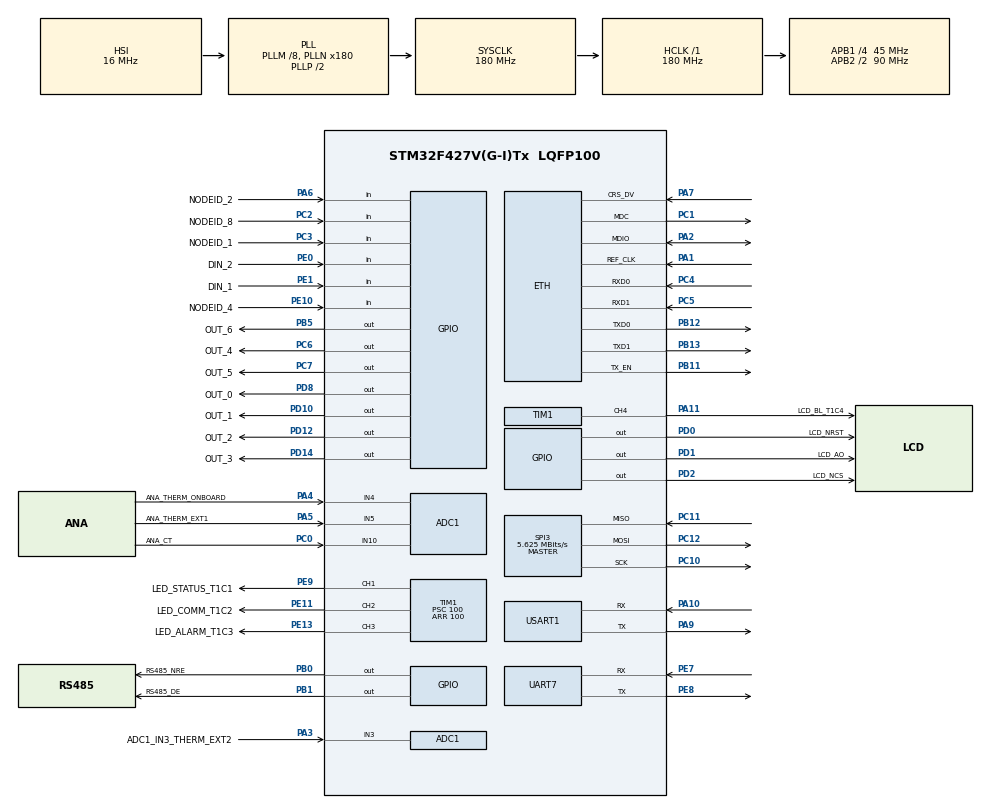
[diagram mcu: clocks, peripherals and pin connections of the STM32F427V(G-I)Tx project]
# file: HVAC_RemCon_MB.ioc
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ADC1.Channel-0\#ChannelRegularConversion=ADC_CHANNEL_3
ADC1.Channel-1\#ChannelRegularConversion=ADC_CHANNEL_4
ADC1.Channel-2\#ChannelRegularConversion=ADC_CHANNEL_5
ADC1.Channel-3\#ChannelRegularConversion=ADC_CHANNEL_10
ADC1.Channel-4\#ChannelRegularConversion=ADC_CHANNEL_TEMPSENSOR
ADC1.ContinuousConvMode=ENABLE
ADC1.NbrOfConversion=5
ADC1.NbrOfConversionFlag=1
ADC1.Rank-0\#ChannelRegularConversion=1
ADC1.Rank-1\#ChannelRegularConversion=2
ADC1.Rank-2\#ChannelRegularConversion=3
ADC1.Rank-3\#ChannelRegularConversion=4
ADC1.Rank-4\#ChannelRegularConversion=5
ADC1.SamplingTime-0\#ChannelRegularConversion=ADC_SAMPLETIME_28CYCLES
ADC1.SamplingTime-1\#ChannelRegularConversion=ADC_SAMPLETIME_28CYCLES
ADC1.SamplingTime-2\#ChannelRegularConversion=ADC_SAMPLETIME_28CYCLES
ADC1.SamplingTime-3\#ChannelRegularConversion=ADC_SAMPLETIME_28CYCLES
ADC1.SamplingTime-4\#ChannelRegularConversion=ADC_SAMPLETIME_28CYCLES
ADC1.master=1
Dma.ADC1.0.Direction=DMA_PERIPH_TO_MEMORY
Dma.ADC1.0.FIFOMode=DMA_FIFOMODE_DISABLE
Dma.ADC1.0.Instance=DMA2_Stream0
Dma.ADC1.0.MemDataAlignment=DMA_MDATAALIGN_HALFWORD
Dma.ADC1.0.MemInc=DMA_MINC_ENABLE
Dma.ADC1.0.Mode=DMA_CIRCULAR
Dma.ADC1.0.PeriphDataAlignment=DMA_PDATAALIGN_HALFWORD
Dma.ADC1.0.PeriphInc=DMA_PINC_DISABLE
Dma.ADC1.0.Priority=DMA_PRIORITY_LOW
Dma.Request0=ADC1
Dma.Request1=USART1_RX
Dma.Request2=USART1_TX
Dma.Request3=UART7_RX
Dma.Request4=UART7_TX
Dma.UART7_RX.3.Direction=DMA_PERIPH_TO_MEMORY
Dma.UART7_RX.3.FIFOMode=DMA_FIFOMODE_DISABLE
Dma.UART7_RX.3.Instance=DMA1_Stream3
Dma.UART7_RX.3.MemDataAlignment=DMA_MDATAALIGN_BYTE
Dma.UART7_RX.3.MemInc=DMA_MINC_ENABLE
Dma.UART7_RX.3.Mode=DMA_NORMAL
Dma.UART7_RX.3.PeriphDataAlignment=DMA_PDATAALIGN_BYTE
Dma.UART7_RX.3.PeriphInc=DMA_PINC_DISABLE
Dma.UART7_RX.3.Priority=DMA_PRIORITY_LOW
Dma.UART7_TX.4.Direction=DMA_MEMORY_TO_PERIPH
Dma.UART7_TX.4.FIFOMode=DMA_FIFOMODE_DISABLE
Dma.UART7_TX.4.Instance=DMA1_Stream1
Dma.UART7_TX.4.MemDataAlignment=DMA_MDATAALIGN_BYTE
Dma.UART7_TX.4.MemInc=DMA_MINC_ENABLE
Dma.UART7_TX.4.Mode=DMA_NORMAL
Dma.UART7_TX.4.PeriphDataAlignment=DMA_PDATAALIGN_BYTE
Dma.UART7_TX.4.PeriphInc=DMA_PINC_DISABLE
Dma.UART7_TX.4.Priority=DMA_PRIORITY_LOW
Dma.USART1_RX.1.Direction=DMA_PERIPH_TO_MEMORY
Dma.USART1_RX.1.FIFOMode=DMA_FIFOMODE_DISABLE
Dma.USART1_RX.1.Instance=DMA2_Stream2
Dma.USART1_RX.1.MemDataAlignment=DMA_MDATAALIGN_BYTE
Dma.USART1_RX.1.MemInc=DMA_MINC_ENABLE
Dma.USART1_RX.1.Mode=DMA_NORMAL
Dma.USART1_RX.1.PeriphDataAlignment=DMA_PDATAALIGN_BYTE
Dma.USART1_RX.1.PeriphInc=DMA_PINC_DISABLE
Dma.USART1_RX.1.Priority=DMA_PRIORITY_LOW
Dma.USART1_TX.2.Direction=DMA_MEMORY_TO_PERIPH
Dma.USART1_TX.2.FIFOMode=DMA_FIFOMODE_DISABLE
Dma.USART1_TX.2.Instance=DMA2_Stream7
Dma.USART1_TX.2.MemDataAlignment=DMA_MDATAALIGN_BYTE
Dma.USART1_TX.2.MemInc=DMA_MINC_ENABLE
Dma.USART1_TX.2.Mode=DMA_NORMAL
Dma.USART1_TX.2.PeriphDataAlignment=DMA_PDATAALIGN_BYTE
Dma.USART1_TX.2.PeriphInc=DMA_PINC_DISABLE
Dma.USART1_TX.2.Priority=DMA_PRIORITY_LOW
ETH.MediaInterface=HAL_ETH_RMII_MODE
LWIP.BSP.number=1
LWIP.ETHARP_TABLE_MATCH_NETIF=0
LWIP.HTTPD_USE_CUSTOM_FSDATA=1
LWIP.LWIP_HTTPD=1
LWIP.LWIP_HTTPD_CGI=1
LWIP.LWIP_HTTPD_CGI_SSI=1
LWIP.LWIP_HTTPD_CUSTOM_FILES=1
LWIP.LWIP_HTTPD_DYNAMIC_HEADERS=1
LWIP.MEM_SIZE=16000
LWIP.TCP_WND_UPDATE_THRESHOLD=536
LWIP.Version=v2.1.2_Cube
LWIP0.BSP.STBoard=false
LWIP0.BSP.api=BSP_COMPONENT_DRIVER
LWIP0.BSP.component=LAN8742
LWIP0.BSP.instance=LAN8742
LWIP0.BSP.name=Driver_PHY
LWIP0.BSP.semaphore=S_LAN8742
LWIP0.BSP.solution=LAN8742
Mcu.Family=STM32F4
Mcu.Name=STM32F427V(G-I)Tx
Mcu.Package=LQFP100
NVIC.DMA1_Stream1_IRQn=true\:0\:0\:false\:false\:true\:false\:true\:true
NVIC.DMA1_Stream3_IRQn=true\:0\:0\:false\:false\:true\:false\:true\:true
NVIC.DMA2_Stream0_IRQn=true\:0\:0\:false\:false\:true\:false\:true\:true
NVIC.DMA2_Stream2_IRQn=true\:0\:0\:false\:false\:true\:false\:true\:true
NVIC.DMA2_Stream7_IRQn=true\:0\:0\:false\:false\:true\:false\:true\:true
NVIC.PriorityGroup=NVIC_PRIORITYGROUP_4
PA1.Mode=RMII
PA1.Signal=ETH_REF_CLK
PA10.Mode=Asynchronous
PA10.Signal=USART1_RX
PA11.GPIO_Label=LCD_BL_T1C4
PA11.Signal=S_TIM1_CH4
PA13.Mode=Serial_Wire
PA13.Signal=SYS_JTMS-SWDIO
PA14.Mode=Serial_Wire
PA14.Signal=SYS_JTCK-SWCLK
PA2.Mode=RMII
PA2.Signal=ETH_MDIO
PA3.GPIO_Label=ADC1_IN3_THERM_EXT2
PA3.Signal=ADCx_IN3
PA4.GPIO_Label=ANA_THERM_ONBOARD
PA4.Signal=ADCx_IN4
PA5.GPIO_Label=ANA_THERM_EXT1
PA5.Signal=ADCx_IN5
PA6.GPIO_Label=NODEID_2
PA6.GPIO_PuPd=GPIO_PULLDOWN
PA6.Signal=GPIO_Input
PA7.Mode=RMII
PA7.Signal=ETH_CRS_DV
PA9.Mode=Asynchronous
PA9.Signal=USART1_TX
PB0.GPIO_Label=RS485_NRE
PB0.Signal=GPIO_Output
PB1.GPIO_Label=RS485_DE
PB1.Signal=GPIO_Output
PB11.Mode=RMII
PB11.Signal=ETH_TX_EN
PB12.Mode=RMII
PB12.Signal=ETH_TXD0
PB13.Mode=RMII
PB13.Signal=ETH_TXD1
PB5.GPIO_Label=OUT_6
PB5.Signal=GPIO_Output
PC0.GPIO_Label=ANA_CT
PC0.Signal=ADCx_IN10
PC1.Mode=RMII
PC1.Signal=ETH_MDC
PC10.Mode=Full_Duplex_Master
PC10.Signal=SPI3_SCK
PC11.Mode=Full_Duplex_Master
PC11.Signal=SPI3_MISO
PC12.Mode=Full_Duplex_Master
PC12.Signal=SPI3_MOSI
PC14/OSC32_IN.Mode=LSE-External-Oscillator
PC14/OSC32_IN.Signal=RCC_OSC32_IN
PC15/OSC32_OUT.Mode=LSE-External-Oscillator
PC15/OSC32_OUT.Signal=RCC_OSC32_OUT
PC2.GPIO_Label=NODEID_8
PC2.GPIO_PuPd=GPIO_PULLDOWN
PC2.Signal=GPIO_Input
PC3.GPIO_Label=NODEID_1
PC3.GPIO_PuPd=GPIO_PULLDOWN
PC3.Signal=GPIO_Input
PC4.Mode=RMII
PC4.Signal=ETH_RXD0
PC5.Mode=RMII
PC5.Signal=ETH_RXD1
PC6.GPIO_Label=OUT_4
PC6.Signal=GPIO_Output
PC7.GPIO_Label=OUT_5
PC7.Signal=GPIO_Output
PD0.GPIO_Label=LCD_NRST
PD0.PinState=GPIO_PIN_SET
PD0.Signal=GPIO_Output
PD1.GPIO_Label=LCD_AO
PD1.Signal=GPIO_Output
PD10.GPIO_Label=OUT_1
PD10.Signal=GPIO_Output
PD12.GPIO_Label=OUT_2
PD12.Signal=GPIO_Output
PD14.GPIO_Label=OUT_3
PD14.Signal=GPIO_Output
PD2.GPIO_Label=LCD_NCS
PD2.PinState=GPIO_PIN_SET
PD2.Signal=GPIO_Output
PD8.GPIO_Label=OUT_0
PD8.Signal=GPIO_Output
PE0.GPIO_Label=DIN_2
PE0.Signal=GPIO_Input
PE1.GPIO_Label=DIN_1
PE1.Signal=GPIO_Input
PE10.GPIO_Label=NODEID_4
PE10.GPIO_PuPd=GPIO_PULLDOWN
PE10.Signal=GPIO_Input
PE11.GPIO_Label=LED_COMM_T1C2
PE11.Signal=S_TIM1_CH2
PE13.GPIO_Label=LED_ALARM_T1C3
PE13.Signal=S_TIM1_CH3
PE7.Mode=Asynchronous
PE7.Signal=UART7_RX
PE8.Mode=Asynchronous
PE8.Signal=UART7_TX
PE9.GPIO_Label=LED_STATUS_T1C1
PE9.Signal=S_TIM1_CH1
PH0/OSC_IN.Mode=HSE-External-Oscillator
PH0/OSC_IN.Signal=RCC_OSC_IN
PH1/OSC_OUT.Mode=HSE-External-Oscillator
PH1/OSC_OUT.Signal=RCC_OSC_OUT
ProjectManager.HeapSize=0x200
ProjectManager.StackSize=0x400
ProjectManager.TargetToolchain=STM32CubeIDE
RCC.48MHZClocksFreq_Value=90000000
RCC.AHBFreq_Value=180000000
RCC.APB1CLKDivider=RCC_HCLK_DIV4
RCC.APB1Freq_Value=45000000
RCC.APB1TimFreq_Value=90000000
RCC.APB2CLKDivider=RCC_HCLK_DIV2
RCC.APB2Freq_Value=90000000
RCC.APB2TimFreq_Value=180000000
RCC.CortexFreq_Value=180000000
RCC.HCLKFreq_Value=180000000
RCC.HSE_VALUE=8000000
RCC.HSI_VALUE=16000000
RCC.PLLM=8
RCC.PLLN=180
RCC.RCC_RTC_Clock_Source=RCC_RTCCLKSOURCE_LSE
RCC.RCC_RTC_Clock_SourceVirtual=RCC_RTCCLKSOURCE_LSE
RCC.SYSCLKFreq_VALUE=180000000
RCC.SYSCLKSource=RCC_SYSCLKSOURCE_PLLCLK
RCC.VCOOutputFreq_Value=360000000
SH.ADCx_IN10.0=ADC1_IN10,IN10
SH.ADCx_IN3.0=ADC1_IN3,IN3
SH.ADCx_IN4.0=ADC1_IN4,IN4
SH.ADCx_IN5.0=ADC1_IN5,IN5
SH.S_TIM1_CH1.0=TIM1_CH1,PWM Generation1 CH1
SH.S_TIM1_CH2.0=TIM1_CH2,PWM Generation2 CH2
SH.S_TIM1_CH3.0=TIM1_CH3,PWM Generation3 CH3
SH.S_TIM1_CH4.0=TIM1_CH4,PWM Generation4 CH4
SPI3.BaudRatePrescaler=SPI_BAUDRATEPRESCALER_8
SPI3.CalculateBaudRate=5.625 MBits/s
SPI3.Direction=SPI_DIRECTION_2LINES
SPI3.Mode=SPI_MODE_MASTER
SPI3.VirtualType=VM_MASTER
TIM1.Channel-PWM\ Generation1\ CH1=TIM_CHANNEL_1
TIM1.Channel-PWM\ Generation2\ CH2=TIM_CHANNEL_2
TIM1.Channel-PWM\ Generation3\ CH3=TIM_CHANNEL_3
TIM1.Channel-PWM\ Generation4\ CH4=TIM_CHANNEL_4
TIM1.OCPolarity_4=TIM_OCPOLARITY_LOW
TIM1.Period=100
TIM1.Prescaler=100
UART7.VirtualMode=Asynchronous
USART1.VirtualMode=VM_ASYNC
VP_ADC1_TempSens_Input.Mode=IN-TempSens
VP_LWIP_VS_Enabled.Mode=Enabled
board=custom

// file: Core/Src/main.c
/* USER CODE BEGIN Header */
/**
  ******************************************************************************
  * @file           : main.c
  * @brief          : Main program body
  ******************************************************************************
  * @attention
  *
  * Copyright (c) 2025 STMicroelectronics.
  * All rights reserved.
  *
  * This software is licensed under terms that can be found in the LICENSE file
  * in the root directory of this software component.
  * If no LICENSE file comes with this software, it is provided AS-IS.
  *
  ******************************************************************************
  */
/* USER CODE END Header */
#include "main.h"
#include "lwip.h"

/* USER CODE BEGIN Includes */
#include "httpd.h"
#include "modbus_tcp.h"
#include "io_core.h"
#include "sysstatus.h"
#include "webserver.h"
/* USER CODE END Includes */

ADC_HandleTypeDef hadc1;
DMA_HandleTypeDef hdma_adc1;

SPI_HandleTypeDef hspi3;

TIM_HandleTypeDef htim1;

UART_HandleTypeDef huart7;
UART_HandleTypeDef huart1;
DMA_HandleTypeDef hdma_uart7_rx;
DMA_HandleTypeDef hdma_uart7_tx;
DMA_HandleTypeDef hdma_usart1_rx;
DMA_HandleTypeDef hdma_usart1_tx;

/* USER CODE BEGIN PV */
extern struct netif gnetif;  // Declared in MX_LWIP_Init()
/* USER CODE END PV */

void SystemClock_Config(void);
static void MX_GPIO_Init(void);
static void MX_DMA_Init(void);
static void MX_SPI3_Init(void);
static void MX_USART1_UART_Init(void);
static void MX_ADC1_Init(void);
static void MX_UART7_Init(void);
static void MX_TIM1_Init(void);

int main(void)
{

  /* MCU Configuration--------------------------------------------------------*/

  /* Reset of all peripherals, Initializes the Flash interface and the Systick. */
  HAL_Init();

  /* Configure the system clock */
  SystemClock_Config();

  /* Initialize all configured peripherals */
  MX_GPIO_Init();
  MX_DMA_Init();
  MX_SPI3_Init();
  MX_USART1_UART_Init();
  MX_LWIP_Init();
  MX_ADC1_Init();
  MX_UART7_Init();
  MX_TIM1_Init();
  /* USER CODE BEGIN 2 */

  	  SysStatus_Init(&htim1, &hspi3);
  	  LEDs_SetSystemState(SYSTEM_STATE_BOOT);
  	  IO_Core_Init(&hadc1);
  	  ModbusTCP_Init();
  	  WebServer_Init();
  /* USER CODE END 2 */

  /* Infinite loop */
  /* USER CODE BEGIN WHILE */
  while (1)
  {
	  MX_LWIP_Process();

	  // Update system state based on Ethernet link + IP
	  if (netif_is_link_up(&gnetif) && dhcp_supplied_address(&gnetif)) {
		  LEDs_SetSystemState(SYSTEM_STATE_STABLE);
	  } else {
		  LEDs_SetSystemState(SYSTEM_STATE_BOOT);
	  }
	  LEDs_Process();
    /* USER CODE END WHILE */

  }
}

void SystemClock_Config(void)
{
  RCC_OscInitTypeDef RCC_OscInitStruct = {0};
  RCC_ClkInitTypeDef RCC_ClkInitStruct = {0};

  /** Configure the main internal regulator output voltage
  */
  __HAL_RCC_PWR_CLK_ENABLE();
  __HAL_PWR_VOLTAGESCALING_CONFIG(PWR_REGULATOR_VOLTAGE_SCALE1);

  /** Initializes the RCC Oscillators according to the specified parameters
  * in the RCC_OscInitTypeDef structure.
  */
  RCC_OscInitStruct.OscillatorType = RCC_OSCILLATORTYPE_HSI;
  RCC_OscInitStruct.HSIState = RCC_HSI_ON;
  RCC_OscInitStruct.HSICalibrationValue = RCC_HSICALIBRATION_DEFAULT;
  RCC_OscInitStruct.PLL.PLLState = RCC_PLL_ON;
  RCC_OscInitStruct.PLL.PLLSource = RCC_PLLSOURCE_HSI;
  RCC_OscInitStruct.PLL.PLLM = 8;
  RCC_OscInitStruct.PLL.PLLN = 180;
  RCC_OscInitStruct.PLL.PLLP = RCC_PLLP_DIV2;
  RCC_OscInitStruct.PLL.PLLQ = 4;
  if (HAL_RCC_OscConfig(&RCC_OscInitStruct) != HAL_OK)
  {
    Error_Handler();
  }

  /** Activate the Over-Drive mode
  */
  if (HAL_PWREx_EnableOverDrive() != HAL_OK)
  {
    Error_Handler();
  }

  /** Initializes the CPU, AHB and APB buses clocks
  */
  RCC_ClkInitStruct.ClockType = RCC_CLOCKTYPE_HCLK|RCC_CLOCKTYPE_SYSCLK
                              |RCC_CLOCKTYPE_PCLK1|RCC_CLOCKTYPE_PCLK2;
  RCC_ClkInitStruct.SYSCLKSource = RCC_SYSCLKSOURCE_PLLCLK;
  RCC_ClkInitStruct.AHBCLKDivider = RCC_SYSCLK_DIV1;
  RCC_ClkInitStruct.APB1CLKDivider = RCC_HCLK_DIV4;
  RCC_ClkInitStruct.APB2CLKDivider = RCC_HCLK_DIV2;

  if (HAL_RCC_ClockConfig(&RCC_ClkInitStruct, FLASH_LATENCY_5) != HAL_OK)
  {
    Error_Handler();
  }
}

static void MX_ADC1_Init(void)
{

  ADC_ChannelConfTypeDef sConfig = {0};

  /** Configure the global features of the ADC (Clock, Resolution, Data Alignment and number of conversion)
  */
  hadc1.Instance = ADC1;
  hadc1.Init.ClockPrescaler = ADC_CLOCK_SYNC_PCLK_DIV4;
  hadc1.Init.Resolution = ADC_RESOLUTION_12B;
  hadc1.Init.ScanConvMode = ENABLE;
  hadc1.Init.ContinuousConvMode = ENABLE;
  hadc1.Init.DiscontinuousConvMode = DISABLE;
  hadc1.Init.ExternalTrigConvEdge = ADC_EXTERNALTRIGCONVEDGE_NONE;
  hadc1.Init.ExternalTrigConv = ADC_SOFTWARE_START;
  hadc1.Init.DataAlign = ADC_DATAALIGN_RIGHT;
  hadc1.Init.NbrOfConversion = 5;
  hadc1.Init.DMAContinuousRequests = DISABLE;
  hadc1.Init.EOCSelection = ADC_EOC_SINGLE_CONV;
  if (HAL_ADC_Init(&hadc1) != HAL_OK)
  {
    Error_Handler();
  }

  /** Configure for the selected ADC regular channel its corresponding rank in the sequencer and its sample time.
  */
  sConfig.Channel = ADC_CHANNEL_3;
  sConfig.Rank = 1;
  sConfig.SamplingTime = ADC_SAMPLETIME_28CYCLES;
  if (HAL_ADC_ConfigChannel(&hadc1, &sConfig) != HAL_OK)
  {
    Error_Handler();
  }

  /** Configure for the selected ADC regular channel its corresponding rank in the sequencer and its sample time.
  */
  sConfig.Channel = ADC_CHANNEL_4;
  sConfig.Rank = 2;
  if (HAL_ADC_ConfigChannel(&hadc1, &sConfig) != HAL_OK)
  {
    Error_Handler();
  }

  /** Configure for the selected ADC regular channel its corresponding rank in the sequencer and its sample time.
  */
  sConfig.Channel = ADC_CHANNEL_5;
  sConfig.Rank = 3;
  if (HAL_ADC_ConfigChannel(&hadc1, &sConfig) != HAL_OK)
  {
    Error_Handler();
  }

  /** Configure for the selected ADC regular channel its corresponding rank in the sequencer and its sample time.
  */
  sConfig.Channel = ADC_CHANNEL_10;
  sConfig.Rank = 4;
  if (HAL_ADC_ConfigChannel(&hadc1, &sConfig) != HAL_OK)
  {
    Error_Handler();
  }

  /** Configure for the selected ADC regular channel its corresponding rank in the sequencer and its sample time.
  */
  sConfig.Channel = ADC_CHANNEL_TEMPSENSOR;
  sConfig.Rank = 5;
  if (HAL_ADC_ConfigChannel(&hadc1, &sConfig) != HAL_OK)
  {
    Error_Handler();
  }

}

static void MX_SPI3_Init(void)
{

  /* SPI3 parameter configuration*/
  hspi3.Instance = SPI3;
  hspi3.Init.Mode = SPI_MODE_MASTER;
  hspi3.Init.Direction = SPI_DIRECTION_2LINES;
  hspi3.Init.DataSize = SPI_DATASIZE_8BIT;
  hspi3.Init.CLKPolarity = SPI_POLARITY_LOW;
  hspi3.Init.CLKPhase = SPI_PHASE_1EDGE;
  hspi3.Init.NSS = SPI_NSS_SOFT;
  hspi3.Init.BaudRatePrescaler = SPI_BAUDRATEPRESCALER_8;
  hspi3.Init.FirstBit = SPI_FIRSTBIT_MSB;
  hspi3.Init.TIMode = SPI_TIMODE_DISABLE;
  hspi3.Init.CRCCalculation = SPI_CRCCALCULATION_DISABLE;
  hspi3.Init.CRCPolynomial = 10;
  if (HAL_SPI_Init(&hspi3) != HAL_OK)
  {
    Error_Handler();
  }

}

static void MX_TIM1_Init(void)
{

  TIM_MasterConfigTypeDef sMasterConfig = {0};
  TIM_OC_InitTypeDef sConfigOC = {0};
  TIM_BreakDeadTimeConfigTypeDef sBreakDeadTimeConfig = {0};

  htim1.Instance = TIM1;
  htim1.Init.Prescaler = 100;
  htim1.Init.CounterMode = TIM_COUNTERMODE_UP;
  htim1.Init.Period = 100;
  htim1.Init.ClockDivision = TIM_CLOCKDIVISION_DIV1;
  htim1.Init.RepetitionCounter = 0;
  htim1.Init.AutoReloadPreload = TIM_AUTORELOAD_PRELOAD_DISABLE;
  if (HAL_TIM_PWM_Init(&htim1) != HAL_OK)
  {
    Error_Handler();
  }
  sMasterConfig.MasterOutputTrigger = TIM_TRGO_RESET;
  sMasterConfig.MasterSlaveMode = TIM_MASTERSLAVEMODE_DISABLE;
  if (HAL_TIMEx_MasterConfigSynchronization(&htim1, &sMasterConfig) != HAL_OK)
  {
    Error_Handler();
  }
  sConfigOC.OCMode = TIM_OCMODE_PWM1;
  sConfigOC.Pulse = 0;
  sConfigOC.OCPolarity = TIM_OCPOLARITY_HIGH;
  sConfigOC.OCNPolarity = TIM_OCNPOLARITY_HIGH;
  sConfigOC.OCFastMode = TIM_OCFAST_DISABLE;
  sConfigOC.OCIdleState = TIM_OCIDLESTATE_RESET;
  sConfigOC.OCNIdleState = TIM_OCNIDLESTATE_RESET;
  if (HAL_TIM_PWM_ConfigChannel(&htim1, &sConfigOC, TIM_CHANNEL_1) != HAL_OK)
  {
    Error_Handler();
  }
  if (HAL_TIM_PWM_ConfigChannel(&htim1, &sConfigOC, TIM_CHANNEL_2) != HAL_OK)
  {
    Error_Handler();
  }
  if (HAL_TIM_PWM_ConfigChannel(&htim1, &sConfigOC, TIM_CHANNEL_3) != HAL_OK)
  {
    Error_Handler();
  }
  sConfigOC.OCPolarity = TIM_OCPOLARITY_LOW;
  if (HAL_TIM_PWM_ConfigChannel(&htim1, &sConfigOC, TIM_CHANNEL_4) != HAL_OK)
  {
    Error_Handler();
  }
  sBreakDeadTimeConfig.OffStateRunMode = TIM_OSSR_DISABLE;
  sBreakDeadTimeConfig.OffStateIDLEMode = TIM_OSSI_DISABLE;
  sBreakDeadTimeConfig.LockLevel = TIM_LOCKLEVEL_OFF;
  sBreakDeadTimeConfig.DeadTime = 0;
  sBreakDeadTimeConfig.BreakState = TIM_BREAK_DISABLE;
  sBreakDeadTimeConfig.BreakPolarity = TIM_BREAKPOLARITY_HIGH;
  sBreakDeadTimeConfig.AutomaticOutput = TIM_AUTOMATICOUTPUT_DISABLE;
  if (HAL_TIMEx_ConfigBreakDeadTime(&htim1, &sBreakDeadTimeConfig) != HAL_OK)
  {
    Error_Handler();
  }
  HAL_TIM_MspPostInit(&htim1);

}

static void MX_UART7_Init(void)
{

  huart7.Instance = UART7;
  huart7.Init.BaudRate = 115200;
  huart7.Init.WordLength = UART_WORDLENGTH_8B;
  huart7.Init.StopBits = UART_STOPBITS_1;
  huart7.Init.Parity = UART_PARITY_NONE;
  huart7.Init.Mode = UART_MODE_TX_RX;
  huart7.Init.HwFlowCtl = UART_HWCONTROL_NONE;
  huart7.Init.OverSampling = UART_OVERSAMPLING_16;
  if (HAL_UART_Init(&huart7) != HAL_OK)
  {
    Error_Handler();
  }

}

static void MX_USART1_UART_Init(void)
{

  huart1.Instance = USART1;
  huart1.Init.BaudRate = 115200;
  huart1.Init.WordLength = UART_WORDLENGTH_8B;
  huart1.Init.StopBits = UART_STOPBITS_1;
  huart1.Init.Parity = UART_PARITY_NONE;
  huart1.Init.Mode = UART_MODE_TX_RX;
  huart1.Init.HwFlowCtl = UART_HWCONTROL_NONE;
  huart1.Init.OverSampling = UART_OVERSAMPLING_16;
  if (HAL_UART_Init(&huart1) != HAL_OK)
  {
    Error_Handler();
  }

}

static void MX_DMA_Init(void)
{

  /* DMA controller clock enable */
  __HAL_RCC_DMA2_CLK_ENABLE();
  __HAL_RCC_DMA1_CLK_ENABLE();

  /* DMA interrupt init */
  /* DMA1_Stream1_IRQn interrupt configuration */
  HAL_NVIC_SetPriority(DMA1_Stream1_IRQn, 0, 0);
  HAL_NVIC_EnableIRQ(DMA1_Stream1_IRQn);
  /* DMA1_Stream3_IRQn interrupt configuration */
  HAL_NVIC_SetPriority(DMA1_Stream3_IRQn, 0, 0);
  HAL_NVIC_EnableIRQ(DMA1_Stream3_IRQn);
  /* DMA2_Stream0_IRQn interrupt configuration */
  HAL_NVIC_SetPriority(DMA2_Stream0_IRQn, 0, 0);
  HAL_NVIC_EnableIRQ(DMA2_Stream0_IRQn);
  /* DMA2_Stream2_IRQn interrupt configuration */
  HAL_NVIC_SetPriority(DMA2_Stream2_IRQn, 0, 0);
  HAL_NVIC_EnableIRQ(DMA2_Stream2_IRQn);
  /* DMA2_Stream7_IRQn interrupt configuration */
  HAL_NVIC_SetPriority(DMA2_Stream7_IRQn, 0, 0);
  HAL_NVIC_EnableIRQ(DMA2_Stream7_IRQn);

}

static void MX_GPIO_Init(void)
{
  GPIO_InitTypeDef GPIO_InitStruct = {0};

  /* GPIO Ports Clock Enable */
  __HAL_RCC_GPIOC_CLK_ENABLE();
  __HAL_RCC_GPIOH_CLK_ENABLE();
  __HAL_RCC_GPIOA_CLK_ENABLE();
  __HAL_RCC_GPIOB_CLK_ENABLE();
  __HAL_RCC_GPIOE_CLK_ENABLE();
  __HAL_RCC_GPIOD_CLK_ENABLE();

  /*Configure GPIO pin Output Level */
  HAL_GPIO_WritePin(GPIOB, RS485_NRE_Pin|RS485_DE_Pin|OUT_6_Pin, GPIO_PIN_RESET);

  /*Configure GPIO pin Output Level */
  HAL_GPIO_WritePin(GPIOD, OUT_0_Pin|OUT_1_Pin|OUT_2_Pin|OUT_3_Pin
                          |LCD_AO_Pin, GPIO_PIN_RESET);

  /*Configure GPIO pin Output Level */
  HAL_GPIO_WritePin(GPIOC, OUT_4_Pin|OUT_5_Pin, GPIO_PIN_RESET);

  /*Configure GPIO pin Output Level */
  HAL_GPIO_WritePin(GPIOD, LCD_NRST_Pin|LCD_NCS_Pin, GPIO_PIN_SET);

  /*Configure GPIO pins : NODEID_8_Pin NODEID_1_Pin */
  GPIO_InitStruct.Pin = NODEID_8_Pin|NODEID_1_Pin;
  GPIO_InitStruct.Mode = GPIO_MODE_INPUT;
  GPIO_InitStruct.Pull = GPIO_PULLDOWN;
  HAL_GPIO_Init(GPIOC, &GPIO_InitStruct);

  /*Configure GPIO pin : NODEID_2_Pin */
  GPIO_InitStruct.Pin = NODEID_2_Pin;
  GPIO_InitStruct.Mode = GPIO_MODE_INPUT;
  GPIO_InitStruct.Pull = GPIO_PULLDOWN;
  HAL_GPIO_Init(NODEID_2_GPIO_Port, &GPIO_InitStruct);

  /*Configure GPIO pins : RS485_NRE_Pin RS485_DE_Pin OUT_6_Pin */
  GPIO_InitStruct.Pin = RS485_NRE_Pin|RS485_DE_Pin|OUT_6_Pin;
  GPIO_InitStruct.Mode = GPIO_MODE_OUTPUT_PP;
  GPIO_InitStruct.Pull = GPIO_NOPULL;
  GPIO_InitStruct.Speed = GPIO_SPEED_FREQ_LOW;
  HAL_GPIO_Init(GPIOB, &GPIO_InitStruct);

  /*Configure GPIO pin : NODEID_4_Pin */
  GPIO_InitStruct.Pin = NODEID_4_Pin;
  GPIO_InitStruct.Mode = GPIO_MODE_INPUT;
  GPIO_InitStruct.Pull = GPIO_PULLDOWN;
  HAL_GPIO_Init(NODEID_4_GPIO_Port, &GPIO_InitStruct);

  /*Configure GPIO pins : OUT_0_Pin OUT_1_Pin OUT_2_Pin OUT_3_Pin
                           LCD_NRST_Pin LCD_AO_Pin LCD_NCS_Pin */
  GPIO_InitStruct.Pin = OUT_0_Pin|OUT_1_Pin|OUT_2_Pin|OUT_3_Pin
                          |LCD_NRST_Pin|LCD_AO_Pin|LCD_NCS_Pin;
  GPIO_InitStruct.Mode = GPIO_MODE_OUTPUT_PP;
  GPIO_InitStruct.Pull = GPIO_NOPULL;
  GPIO_InitStruct.Speed = GPIO_SPEED_FREQ_LOW;
  HAL_GPIO_Init(GPIOD, &GPIO_InitStruct);

  /*Configure GPIO pins : OUT_4_Pin OUT_5_Pin */
  GPIO_InitStruct.Pin = OUT_4_Pin|OUT_5_Pin;
  GPIO_InitStruct.Mode = GPIO_MODE_OUTPUT_PP;
  GPIO_InitStruct.Pull = GPIO_NOPULL;
  GPIO_InitStruct.Speed = GPIO_SPEED_FREQ_LOW;
  HAL_GPIO_Init(GPIOC, &GPIO_InitStruct);

  /*Configure GPIO pins : DIN_2_Pin DIN_1_Pin */
  GPIO_InitStruct.Pin = DIN_2_Pin|DIN_1_Pin;
  GPIO_InitStruct.Mode = GPIO_MODE_INPUT;
  GPIO_InitStruct.Pull = GPIO_NOPULL;
  HAL_GPIO_Init(GPIOE, &GPIO_InitStruct);

}

void Error_Handler(void)
{
  __disable_irq();
  while (1)
  {
  }
}
